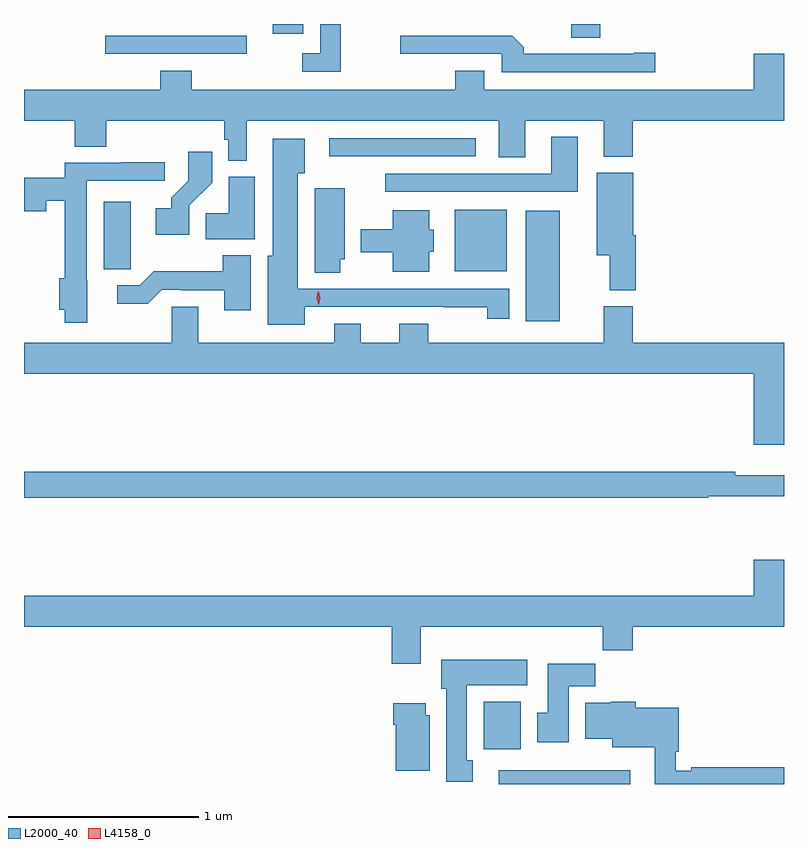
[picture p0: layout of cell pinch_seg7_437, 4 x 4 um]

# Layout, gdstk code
import gdstk
lib = gdstk.Library(unit=1e-6, precision=1e-09)
def R(c, l, rs):  # rectangles x0, y0, x1, y1
    for r in rs: c.add(gdstk.rectangle(r[:2], r[2:], *l))
def P(c, l, *ps):  # polygons
    for p in ps: c.add(gdstk.Polygon(p, *l))
L2000_40 = (2000, 40)
L4158_0 = (4158, 0)

pinch_seg7_437 = lib.new_cell('pinch_seg7_437')
R(pinch_seg7_437, L2000_40, [(271.559,1074.381,272.251,1074.454), (271.479,1074.564,271.675,1074.814), (271.7,1076.816,271.879,1077.397), (271.328,1077.08,271.6,1077.403), (270.666,1077.684,271.438,1077.78), (269.487,1078.224,270.232,1078.32), (271.94,1078.309,272.093,1078.381), (270.368,1078.329,270.529,1078.381)])
P(pinch_seg7_437, L2000_40, [(270.727,1078.381),(270.618,1078.381),(270.618,1078.227),(270.525,1078.227),(270.525,1078.131),(270.727,1078.131)],
  [(272.383,1078.229),(272.27,1078.229),(272.27,1078.224),(271.691,1078.224),(271.691,1078.258),(271.629,1078.32),(271.041,1078.32),(271.041,1078.224),(271.575,1078.224),(271.575,1078.128),(272.383,1078.128)],
  [(270.232,1077.872),(271.559,1077.872),(271.559,1077.679),(271.699,1077.679),(271.699,1077.872),(272.111,1077.872),(272.111,1077.683),(272.264,1077.683),(272.264,1077.872),(273.06,1077.872),(273.06,1078.225),(272.9,1078.225),(272.9,1078.036),(271.483,1078.036),(271.483,1078.135),(271.331,1078.135),(271.331,1078.036),(269.942,1078.036),(269.942,1078.135),(269.777,1078.135),(269.777,1078.036),(269.06,1078.036),(269.06,1077.872),(269.327,1077.872),(269.327,1077.736),(269.492,1077.736),(269.492,1077.872),(270.115,1077.872),(270.115,1077.771),(270.135,1077.771),(270.135,1077.662),(270.232,1077.662)],
  [(271.975,1077.787),(271.835,1077.787),(271.835,1077.594),(270.96,1077.594),(270.96,1077.498),(271.975,1077.498)],
  [(270.538,1076.892),(271.27,1076.892),(271.27,1076.891),(271.498,1076.891),(271.498,1076.829),(271.615,1076.829),(271.615,1076.988),(270.502,1076.988),(270.502,1077.596),(270.538,1077.596),(270.538,1077.778),(270.368,1077.778),(270.368,1077.162),(270.344,1077.162),(270.344,1076.798),(270.538,1076.798)],
  [(269.931,1077.427),(270.05,1077.546),(270.05,1077.709),(269.925,1077.709),(269.925,1077.557),(269.834,1077.467),(269.834,1077.412),(269.754,1077.412),(269.754,1077.272),(269.931,1077.272)],
  [(269.392,1077.03),(269.391,1077.03),(269.391,1077.555),(269.8,1077.555),(269.8,1077.654),(269.575,1077.654),(269.575,1077.651),(269.275,1077.651),(269.275,1077.571),(269.06,1077.571),(269.06,1077.395),(269.176,1077.395),(269.176,1077.45),(269.275,1077.45),(269.275,1077.042),(269.246,1077.042),(269.246,1076.876),(269.275,1076.876),(269.275,1076.808),(269.392,1076.808)],
  [(272.279,1077.268),(272.266,1077.268),(272.266,1077.598),(272.075,1077.598),(272.075,1077.164),(272.144,1077.164),(272.144,1076.981),(272.279,1076.981)],
  [(270.274,1077.577),(270.137,1077.577),(270.137,1077.386),(270.016,1077.386),(270.016,1077.248),(270.274,1077.248)],
  [(270.724,1077.144),(270.748,1077.144),(270.748,1077.517),(270.59,1077.517),(270.59,1077.073),(270.724,1077.073)],
  [(269.622,1077.202),(269.623,1077.202),(269.623,1077.445),(269.48,1077.445),(269.48,1077.091),(269.622,1077.091)],
  [(271.192,1077.183),(271.216,1077.183),(271.216,1077.297),(271.192,1077.297),(271.192,1077.4),(271.001,1077.4),(271.001,1077.301),(270.833,1077.301),(270.833,1077.179),(271.001,1077.179),(271.001,1077.077),(271.192,1077.077)],
  [(270.253,1077.163),(270.106,1077.163),(270.106,1077.079),(269.743,1077.079),(269.67,1077.006),(269.55,1077.006),(269.55,1076.909),(269.711,1076.909),(269.784,1076.982),(269.884,1076.982),(269.884,1076.979),(270.113,1076.979),(270.113,1076.874),(270.253,1076.874)],
  [(272.9,1076.166),(273.06,1076.166),(273.06,1076.704),(272.264,1076.704),(272.264,1076.896),(272.111,1076.896),(272.111,1076.704),(271.187,1076.704),(271.187,1076.803),(271.034,1076.803),(271.034,1076.704),(270.832,1076.704),(270.832,1076.803),(270.692,1076.803),(270.692,1076.704),(269.977,1076.704),(269.977,1076.894),(269.838,1076.894),(269.838,1076.704),(269.06,1076.704),(269.06,1076.54),(272.9,1076.54)],
  [(272.662,1075.896),(273.06,1075.896),(273.06,1076.005),(272.804,1076.005),(272.804,1076.024),(269.06,1076.024),(269.06,1075.888),(272.662,1075.888)],
  [(271.147,1075.208),(272.107,1075.208),(272.107,1075.084),(272.264,1075.084),(272.264,1075.208),(273.06,1075.208),(273.06,1075.561),(272.9,1075.561),(272.9,1075.372),(269.06,1075.372),(269.06,1075.208),(270.995,1075.208),(270.995,1075.014),(271.147,1075.014)],
  [(271.423,1074.505),(271.39,1074.505),(271.39,1074.902),(271.708,1074.902),(271.708,1075.036),(271.256,1075.036),(271.256,1074.882),(271.283,1074.882),(271.283,1074.393),(271.423,1074.393)],
  [(271.927,1074.896),(272.066,1074.896),(272.066,1075.015),(271.817,1075.015),(271.817,1074.756),(271.76,1074.756),(271.76,1074.6),(271.927,1074.6)],
  [(273.06,1074.47),(272.572,1074.47),(272.572,1074.452),(272.491,1074.452),(272.491,1074.552),(272.506,1074.552),(272.506,1074.783),(272.279,1074.783),(272.279,1074.814),(272.148,1074.814),(272.148,1074.808),(272.015,1074.808),(272.015,1074.62),(272.156,1074.62),(272.156,1074.575),(272.379,1074.575),(272.379,1074.381),(273.06,1074.381)],
  [(271.195,1074.744),(271.174,1074.744),(271.174,1074.805),(271.004,1074.805),(271.004,1074.692),(271.016,1074.692),(271.016,1074.452),(271.195,1074.452)])
P(pinch_seg7_437, L4158_0, [(270.611,1076.903),(270.611,1076.903),(270.6,1076.939),(270.609,1076.975),(270.609,1076.975),(270.609,1076.975),(270.62,1076.939),(270.612,1076.903)])

lib.write_gds('pinch_seg7_437.gds')
